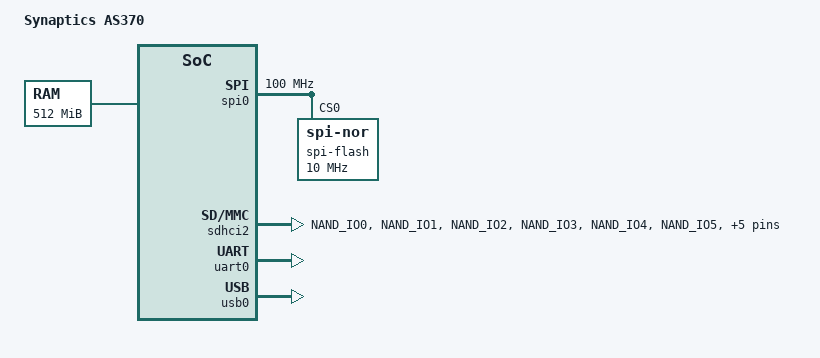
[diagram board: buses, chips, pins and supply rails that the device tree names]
/* SPDX-License-Identifier: GPL-2.0+ */
/*
 * Copyright (C) 2019 Synaptics Incorporated
 *
 * Author:
 * Shaojun Feng <Shaojun.Feng@synaptics.com>
 * Cheng Lu <Cheng.Lu@synaptics.com>
 */

/dts-v1/;

#include <dt-bindings/gpio/gpio.h>

#include "as370.dtsi"

/ {
	model = "Synaptics AS370";
	compatible = "Synaptics,as370", "Synaptics,asserial";

	memory {
		device_type = "memory";
		reg = <0 0 0 0x20000000>;
	};

	chosen {
                stdout-path = &uart0;
        };

};

&pinctrl {
        nand_pmux: nand-pmux {
                groups = "NAND_IO0", "NAND_IO1", "NAND_IO2", "NAND_IO3", "NAND_IO4", "NAND_IO5", "NAND_IO6", "NAND_IO7", "NAND_ALE", "NAND_CLE", "NAND_WEn", "NAND_REn", "NAND_WPn", "NAND_CEn", "NAND_RDY";
                function = "nand";
        };

        emmc_pmux: emmc-pmux {
                groups = "NAND_IO0", "NAND_IO1", "NAND_IO2", "NAND_IO3", "NAND_IO4", "NAND_IO5", "NAND_IO6", "NAND_IO7", "NAND_WPn", "NAND_CEn", "NAND_RDY";
                function = "emmc";
        };
};

&spi0 {
	status = "okay";
	max-write-size = <128>;
	clock-frequency = <100000000>;
	spi-flash@0 {
		#address-cells = <1>;
		#size-cells = <1>;
		compatible = "jedec,spi-nor";
		reg = <0>;
		memory-map = <0x0 0xf0000000 0x0 0x4000000>;
		spi-max-frequency = <10000000>;
        };
};

&sdhci2 {
        status = "okay";
        pinctrl-0 = <&emmc_pmux>;
        pinctrl-names = "default";
};

&CPU_SLEEP_0 {
	status = "disabled";
};

&uart0 {
	status = "okay";
};

&usb0 {
	status = "okay";
};
